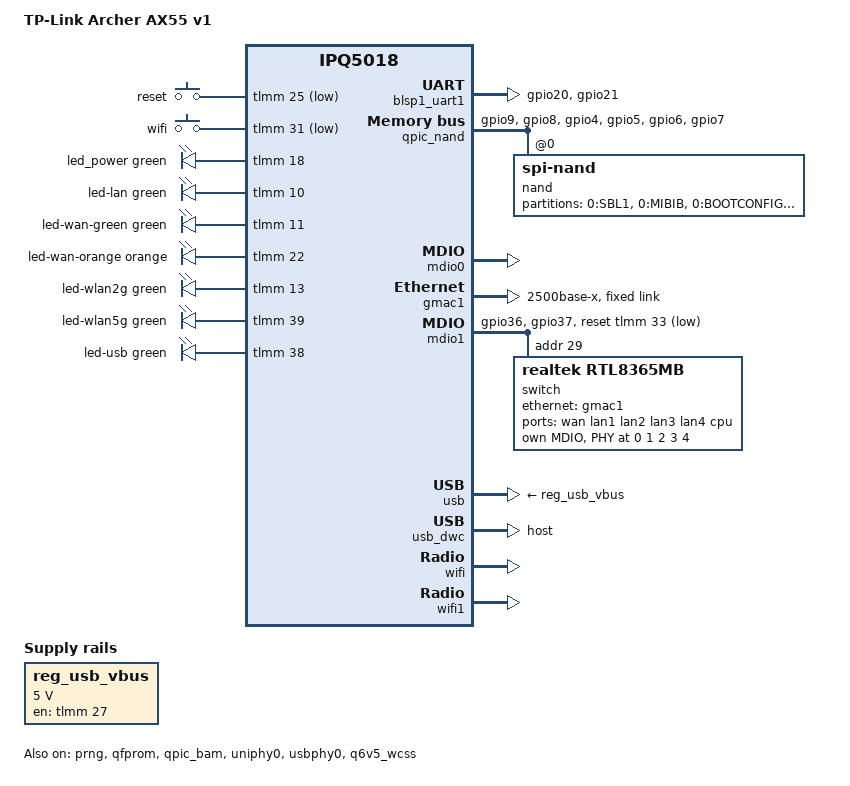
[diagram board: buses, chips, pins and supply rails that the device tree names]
// SPDX-License-Identifier: GPL-2.0-or-later OR MIT

/dts-v1/;

#include "ipq5018.dtsi"
#include "ipq5018-ess.dtsi"
#include "ipq5018-qcn6122.dtsi"

#include <dt-bindings/gpio/gpio.h>
#include <dt-bindings/input/input.h>
#include <dt-bindings/leds/common.h>

/ {
	model = "TP-Link Archer AX55 v1";
	compatible = "tplink,archer-ax55-v1", "qcom,ipq5018";

	aliases {
		serial0 = &blsp1_uart1;
		led-boot = &led_power;
		led-failsafe = &led_power;
		led-running = &led_power;
		led-upgrade = &led_power;
	};

	chosen {
		stdout-path = "serial0:115200n8";
		bootargs-append = " root=/dev/ubiblock0_1 coherent_pool=2M";
	};

	keys {
		compatible = "gpio-keys";
		pinctrl-0 = <&button_pins>;
		pinctrl-names = "default";

		button-reset {
			label = "reset";
			gpios = <&tlmm 25 GPIO_ACTIVE_LOW>;
			linux,code = <KEY_RESTART>;
			debounce-interval = <60>;
		};

		/* the case labels this "WPS/Wi-Fi"; stock treats it as a
		 * wifi toggle (KEY_WLAN) - use rfkill, the OpenWrt idiom */
		button-wifi {
			label = "wifi";
			gpios = <&tlmm 31 GPIO_ACTIVE_LOW>;
			linux,code = <KEY_RFKILL>;
			debounce-interval = <60>;
		};
	};

	leds {
		compatible = "gpio-leds";
		pinctrl-0 = <&led_pins>;
		pinctrl-names = "default";

		/*
		 * LED GPIOs confirmed against the stock device tree. GPIO39 is
		 * the 5 GHz WLAN LED (the OEM "reset_gpio 39" in the switch
		 * node is bogus - the real RTL8367S reset is GPIO33).
		 */
		led_power: led-power {
			color = <LED_COLOR_ID_GREEN>;
			function = LED_FUNCTION_POWER;
			gpios = <&tlmm 18 GPIO_ACTIVE_HIGH>;
		};

		led-lan {
			color = <LED_COLOR_ID_GREEN>;
			function = LED_FUNCTION_LAN;
			gpios = <&tlmm 10 GPIO_ACTIVE_HIGH>;
		};

		led-wan-green {
			color = <LED_COLOR_ID_GREEN>;
			function = LED_FUNCTION_WAN_ONLINE;
			gpios = <&tlmm 11 GPIO_ACTIVE_HIGH>;
		};

		led-wan-orange {
			color = <LED_COLOR_ID_ORANGE>;
			function = LED_FUNCTION_WAN;
			gpios = <&tlmm 22 GPIO_ACTIVE_HIGH>;
		};

		led-wlan2g {
			color = <LED_COLOR_ID_GREEN>;
			function = LED_FUNCTION_WLAN_2GHZ;
			gpios = <&tlmm 13 GPIO_ACTIVE_HIGH>;
		};

		led-wlan5g {
			color = <LED_COLOR_ID_GREEN>;
			function = LED_FUNCTION_WLAN_5GHZ;
			gpios = <&tlmm 39 GPIO_ACTIVE_HIGH>;
		};

		led-usb {
			color = <LED_COLOR_ID_GREEN>;
			function = LED_FUNCTION_USB;
			gpios = <&tlmm 38 GPIO_ACTIVE_HIGH>;
			trigger-sources = <&usb_port1>;
			linux,default-trigger = "usbport";
		};
	};

	/* vendor "usb_enabled" GPIO - switches the USB port's VBUS rail */
	reg_usb_vbus: regulator-usb-vbus {
		compatible = "regulator-fixed";
		regulator-name = "usb_vbus";
		regulator-min-microvolt = <5000000>;
		regulator-max-microvolt = <5000000>;
		gpios = <&tlmm 27 GPIO_ACTIVE_HIGH>;
		enable-active-high;
		/* nothing consumes this supply (the qcom dwc3 glue ignores
		 * vbus-supply), so keep the rail permanently on */
		regulator-always-on;
		regulator-boot-on;
	};
};

&sleep_clk {
	clock-frequency = <32000>;
};

&xo_board_clk {
	clock-div = <4>;
	clock-mult = <1>;
};

&blsp1_uart1 {
	pinctrl-0 = <&serial_0_pins>;
	pinctrl-names = "default";
	status = "okay";
};

&prng {
	status = "okay";
};

&qfprom {
	status = "okay";
};

&qpic_bam {
	status = "okay";
};

&qpic_nand {
	pinctrl-0 = <&qpic_pins>;
	pinctrl-names = "default";
	status = "okay";

	nand@0 {
		compatible = "spi-nand";
		reg = <0>;

		nand-ecc-engine = <&qpic_nand>;
		nand-ecc-strength = <4>;
		nand-ecc-step-size = <512>;
		nand-bus-width = <8>;

		/*
		 * Layout from the stock firmware device tree (OEM
		 * "IPQ5018/AP-MP03.3"), with dual rootfs (rootfs / rootfs_1).
		 */
		partitions {
			compatible = "fixed-partitions";
			#address-cells = <1>;
			#size-cells = <1>;

			partition@0 {
				label = "0:SBL1";
				reg = <0x0 0x80000>;
				read-only;
			};

			partition@80000 {
				label = "0:MIBIB";
				reg = <0x80000 0x80000>;
				read-only;
			};

			partition@100000 {
				label = "0:BOOTCONFIG";
				reg = <0x100000 0x40000>;
				read-only;
			};

			partition@140000 {
				label = "0:BOOTCONFIG1";
				reg = <0x140000 0x40000>;
				read-only;
			};

			partition@180000 {
				label = "0:QSEE";
				reg = <0x180000 0x100000>;
				read-only;
			};

			partition@280000 {
				label = "0:DEVCFG";
				reg = <0x280000 0x40000>;
				read-only;
			};

			partition@2c0000 {
				label = "0:CDT";
				reg = <0x2c0000 0x40000>;
				read-only;
			};

			partition@300000 {
				label = "0:APPSBLENV";
				reg = <0x300000 0x80000>;
			};

			partition@380000 {
				label = "0:APPSBL";
				reg = <0x380000 0x140000>;
				read-only;
			};

			partition@4c0000 {
				label = "0:ART";
				reg = <0x4c0000 0x100000>;
				read-only;
			};

			partition@5c0000 {
				label = "0:TRAINING";
				reg = <0x5c0000 0x80000>;
				read-only;
			};

			partition@640000 {
				label = "rootfs";
				reg = <0x640000 0x2a00000>;
			};

			partition@3040000 {
				label = "rootfs_1";
				reg = <0x3040000 0x2a00000>;
			};

			partition@5a40000 {
				label = "tp_data";
				reg = <0x5a40000 0x840000>;
				read-only;
			};

			partition@6280000 {
				label = "radio";
				reg = <0x6280000 0x440000>;
				read-only;
			};

			partition@66c0000 {
				label = "data";
				reg = <0x66c0000 0x80000>;
			};
		};
	};
};

/*
 * ===========================================================================
 * Ethernet:
 *
 *   IPQ5018 gmac1 -> uniphy0 PCS -> 2.5G HSGMII trunk -> RTL8367S DSA switch
 *   All FIVE front jacks are RTL8367S internal PHYs:
 *     blue WAN = phy0 ("wan"), LAN1-4 = phy1-4 ("lan1".."lan4")
 *   The SoC's internal GE PHY (mdio0:7/gmac0) is NOT bonded out -> disabled.
 *
 *   RTL8367S: MDIO addr 29 on mdio1, reset GPIO 33 (the OEM DTS's "GPIO39"
 *   is wrong/unused). The 2.5G HSGMII trunk needs the rtl8365mb SGMII/HSGMII
 *   patch; no 8051 SerDes firmware is required.
 * ===========================================================================
 */

/*
 * The IPQ5018 internal GE PHY (mdio0 addr 7 / gmac0) is not wired to any
 * jack on this board: all five front jacks (blue "WAN" + LAN1-4) hang off
 * the RTL8367S's five internal PHYs. Keep gmac0 disabled.
 */
&gmac0 {
	status = "disabled";
};

/*
 * The internal GE PHY behind mdio0 is not bonded out on this board (see the
 * gmac0 note above) - but mdio0 must stay enabled anyway: registering the
 * ge_phy deasserts GCC_GEPHY_MISC_ARES, and that reset also gates the
 * MDC/MDIO path shared with mdio1. With mdio0 disabled the RTL8367S on
 * mdio1 stops responding to SMI entirely (chip id read -ETIMEDOUT,
 * measured 2026-07-30).
 */
&mdio0 {
	status = "okay";
};

/* LAN trunk PCS */
&uniphy0 {
	status = "okay";
};

&gmac1 {
	status = "okay";

	phy-mode = "2500base-x";

	fixed-link {
		speed = <2500>;
		full-duplex;
	};
};

&mdio1 {
	status = "okay";

	pinctrl-0 = <&mdio1_pins>;
	pinctrl-names = "default";
	reset-gpios = <&tlmm 33 GPIO_ACTIVE_LOW>;

	/*
	 * RTL8367S (OEM labels it "qca83xx"), MDIO-connected (realtek-mdio) at
	 * address 29. The switch RESET is GPIO33, not the OEM-labelled GPIO39 -
	 * holding 39 leaves the chip in reset and MDIO reads back 0xffff.
	 */
	switch@29 {
		compatible = "realtek,rtl8365mb";
		reg = <29>;

		/*
		 * The RTL8367S internal user-side MDIO bus. The DSA realtek
		 * driver (rtl83xx_setup_user_mdio) requires this child node -
		 * without it probe fails with "no MDIO bus node". LAN1-4 hang
		 * off the switch's internal PHYs 0-3.
		 */
		mdio {
			compatible = "realtek,smi-mdio";
			#address-cells = <1>;
			#size-cells = <0>;

			switchphy0: ethernet-phy@0 {
				reg = <0>;
			};

			switchphy1: ethernet-phy@1 {
				reg = <1>;
			};

			switchphy2: ethernet-phy@2 {
				reg = <2>;
			};

			switchphy3: ethernet-phy@3 {
				reg = <3>;
			};

			switchphy4: ethernet-phy@4 {
				reg = <4>;
			};
		};

		ports {
			#address-cells = <1>;
			#size-cells = <0>;

			/*
			 * Physical jack -> switch PHY map:
			 * blue WAN = phy0, LAN1 = phy1, LAN2 = phy2,
			 * LAN3 = phy3, LAN4 = phy4. The SoC's internal GE PHY
			 * is not bonded out.
			 */
			port@0 {
				reg = <0>;
				label = "wan";
				phy-handle = <&switchphy0>;
			};

			port@1 {
				reg = <1>;
				label = "lan1";
				phy-handle = <&switchphy1>;
			};

			port@2 {
				reg = <2>;
				label = "lan2";
				phy-handle = <&switchphy2>;
			};

			port@3 {
				reg = <3>;
				label = "lan3";
				phy-handle = <&switchphy3>;
			};

			port@4 {
				reg = <4>;
				label = "lan4";
				phy-handle = <&switchphy4>;
			};

			port@6 {
				reg = <6>;
				label = "cpu";
				ethernet = <&gmac1>;
				phy-mode = "2500base-x";

				fixed-link {
					speed = <2500>;
					full-duplex;
				};
			};
		};
	};
};

&usbphy0 {
	status = "okay";
};

/*
 * The port is USB 3.0, but this runs it in high speed only: the
 * SuperSpeed pads sit behind a TCSR phy mux that TP-Link's U-Boot never
 * selects, and mainline has neither the mux hook nor a driver for the
 * IPQ5018 SS uni PHY. SuperSpeed support is being worked on for both
 * IPQ5018 and IPQ5332 (dwc3-qcom mux + uniphy USB driver) and will be
 * a separate submission.
 */
&usb {
	status = "okay";

	vbus-supply = <&reg_usb_vbus>;

	/*
	 * TP-Link's U-Boot leaves the mock UTMI RCG at 120 MHz; the stock
	 * DTB assigns the UTMI-spec 60 MHz. Without it the HS side never
	 * detects a connect.
	 */
	assigned-clocks = <&gcc GCC_USB0_MOCK_UTMI_CLK>;
	assigned-clock-rates = <60000000>;
};

&usb_dwc {
	#address-cells = <1>;
	#size-cells = <0>;
	dr_mode = "host";

	usb_port1: port@1 {
		reg = <1>;
		#trigger-source-cells = <0>;
	};
};

/*
 * WiFi: IPQ5018 2.4 GHz + QCN6122/QCN6102 5 GHz, the 5 GHz radio on
 * userpd 3 (q6_wcss_pd3) with no boot-args - same layout as the
 * GL.iNet GL-B3000 - so the board-specific, unexposed QCN6122 reset
 * GPIO is not needed. Per-device pre-cal comes from 0:ART via the
 * 11-ath11k-caldata hotplug.
 */
&q6v5_wcss {
	status = "okay";
};

&wifi {
	status = "okay";

	qcom,rproc = <&q6_wcss_pd1>;
	qcom,userpd-subsys-name = "q6v5_wcss_userpd1";
	qcom,ath11k-fw-memory-mode = <1>;
	qcom,ath11k-calibration-variant = "TP-Link-Archer-AX55-v1";
	qcom,bdf-addr = <0x4c400000>;
};

&wifi1 {
	status = "okay";

	qcom,rproc = <&q6_wcss_pd3>;
	qcom,userpd-subsys-name = "q6v5_wcss_userpd3";
	qcom,ath11k-fw-memory-mode = <1>;
	qcom,ath11k-calibration-variant = "TP-Link-Archer-AX55-v1";
	qcom,bdf-addr = <0x4d100000>;
	qcom,m3-dump-addr = <0x4df00000>;
};

&tlmm {
	button_pins: button-state {
		pins = "gpio25", "gpio31";
		function = "gpio";
		drive-strength = <8>;
		bias-pull-up;
	};

	led_pins: led-state {
		pins = "gpio10", "gpio11", "gpio13", "gpio18", "gpio22",
		       "gpio38", "gpio39";
		function = "gpio";
		drive-strength = <2>;
		bias-disable;
	};

	mdio1_pins: mdio1-state {
		mdc-pins {
			pins = "gpio36";
			function = "mdc";
			drive-strength = <8>;
			bias-pull-up;
		};

		mdio-pins {
			pins = "gpio37";
			function = "mdio";
			drive-strength = <8>;
			bias-pull-up;
		};
	};

	qpic_pins: qpic-state {
		clock-pins {
			pins = "gpio9";
			function = "qspi_clk";
			drive-strength = <8>;
			bias-disable;
		};

		cs-pins {
			pins = "gpio8";
			function = "qspi_cs";
			drive-strength = <8>;
			bias-disable;
		};

		data-pins {
			pins = "gpio4", "gpio5", "gpio6", "gpio7";
			function = "qspi_data";
			drive-strength = <8>;
			bias-disable;
		};
	};

	serial_0_pins: uart0-state {
		pins = "gpio20", "gpio21";
		function = "blsp0_uart0";
		bias-disable;
	};
};
